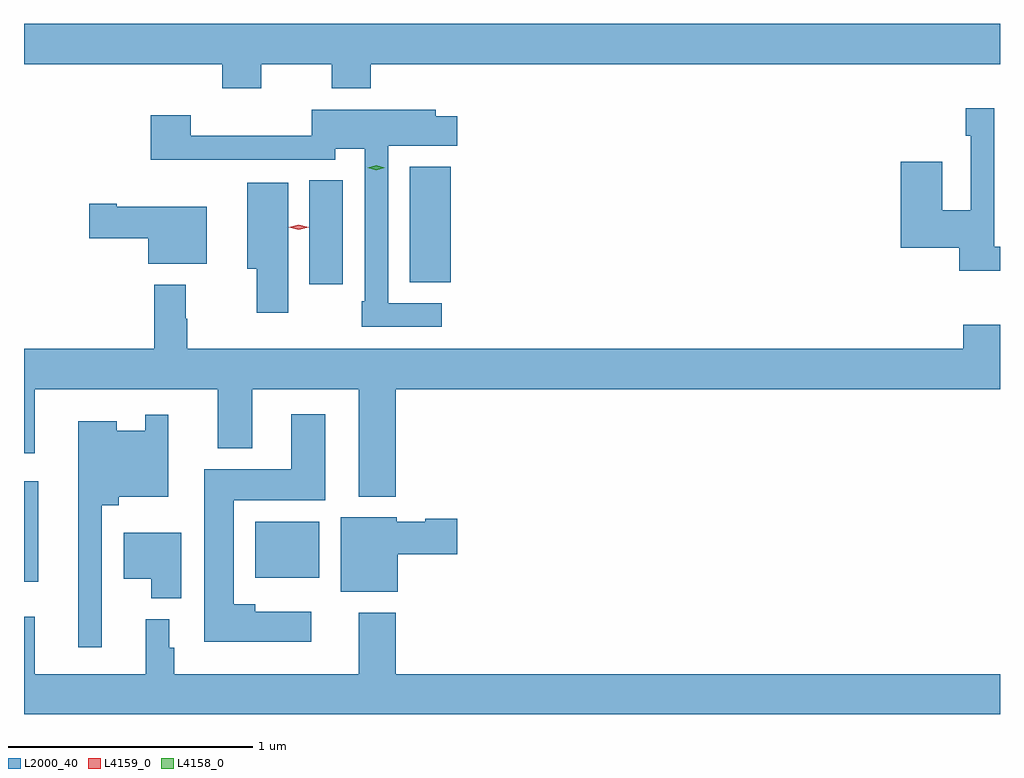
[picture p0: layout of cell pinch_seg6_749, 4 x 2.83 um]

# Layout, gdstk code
import gdstk
lib = gdstk.Library(unit=1e-6, precision=1e-09)
def R(c, l, rs):  # rectangles x0, y0, x1, y1
    for r in rs: c.add(gdstk.rectangle(r[:2], r[2:], *l))
def P(c, l, *ps):  # polygons
    for p in ps: c.add(gdstk.Polygon(p, *l))
L2000_40 = (2000, 40)
L4158_0 = (4158, 0)
L4159_0 = (4159, 0)

pinch_seg6_749 = lib.new_cell('pinch_seg6_749')
R(pinch_seg6_749, L2000_40, [(250.316,993.167,250.375,993.577), (251.264,993.182,251.527,993.412), (251.486,994.386,251.623,994.811), (251.897,994.393,252.064,994.867)])
P(pinch_seg6_749, L2000_40, [(251.289,995.288),(251.578,995.288),(251.578,995.189),(251.738,995.189),(251.738,995.288),(254.316,995.288),(254.316,995.452),(250.316,995.452),(250.316,995.288),(251.129,995.288),(251.129,995.189),(251.289,995.189)],
  [(254.316,994.54),(254.292,994.54),(254.292,995.107),(254.176,995.107),(254.176,994.994),(254.196,994.994),(254.196,994.688),(254.08,994.688),(254.08,994.888),(253.91,994.888),(253.91,994.535),(254.15,994.535),(254.15,994.441),(254.316,994.441)],
  [(252.028,994.308),(251.808,994.308),(251.808,994.952),(252.091,994.952),(252.091,995.074),(252.003,995.074),(252.003,995.101),(251.496,995.101),(251.496,994.994),(251,994.994),(251,995.077),(250.835,995.077),(250.835,994.895),(251.083,994.895),(251.083,994.896),(251.592,994.896),(251.592,994.94),(251.712,994.94),(251.712,994.315),(251.7,994.315),(251.7,994.212),(252.028,994.212)],
  [(251.398,994.801),(251.231,994.801),(251.231,994.448),(251.269,994.448),(251.269,994.269),(251.398,994.269)],
  [(251.065,994.702),(250.696,994.702),(250.696,994.715),(250.584,994.715),(250.584,994.573),(250.826,994.573),(250.826,994.469),(251.065,994.469)],
  [(251.84,993.956),(254.316,993.956),(254.316,994.219),(254.165,994.219),(254.165,994.12),(250.985,994.12),(250.985,994.244),(250.978,994.244),(250.978,994.384),(250.849,994.384),(250.849,994.12),(250.316,994.12),(250.316,993.693),(250.36,993.693),(250.36,993.956),(251.111,993.956),(251.111,993.713),(251.251,993.713),(251.251,993.956),(251.687,993.956),(251.687,993.515),(251.84,993.515)],
  [(251.494,993.043),(251.263,993.043),(251.263,993.073),(251.176,993.073),(251.176,993.5),(251.551,993.5),(251.551,993.853),(251.411,993.853),(251.411,993.628),(251.054,993.628),(251.054,992.921),(251.494,992.921)],
  [(250.635,993.479),(250.704,993.479),(250.704,993.515),(250.908,993.515),(250.908,993.85),(250.812,993.85),(250.812,993.784),(250.696,993.784),(250.696,993.823),(250.538,993.823),(250.538,992.898),(250.635,992.898)],
  [(251.848,993.278),(252.091,993.278),(252.091,993.425),(251.961,993.425),(251.961,993.412),(251.844,993.412),(251.844,993.43),(251.615,993.43),(251.615,993.125),(251.848,993.125)],
  [(250.96,993.367),(250.724,993.367),(250.724,993.179),(250.838,993.179),(250.838,993.098),(250.96,993.098)],
  [(254.316,992.788),(251.84,992.788),(251.84,993.04),(251.687,993.04),(251.687,992.788),(250.931,992.788),(250.931,992.895),(250.912,992.895),(250.912,993.013),(250.814,993.013),(250.814,992.788),(250.361,992.788),(250.361,993.022),(250.316,993.022),(250.316,992.624),(254.316,992.624)])
P(pinch_seg6_749, L4158_0, [(251.76,994.853),(251.725,994.863),(251.725,994.863),(251.725,994.863),(251.76,994.873),(251.795,994.863),(251.795,994.863),(251.795,994.863)])
P(pinch_seg6_749, L4159_0, [(251.443,994.609),(251.402,994.619),(251.402,994.619),(251.402,994.619),(251.443,994.629),(251.484,994.618),(251.484,994.618),(251.484,994.618)])

lib.write_gds('pinch_seg6_749.gds')
